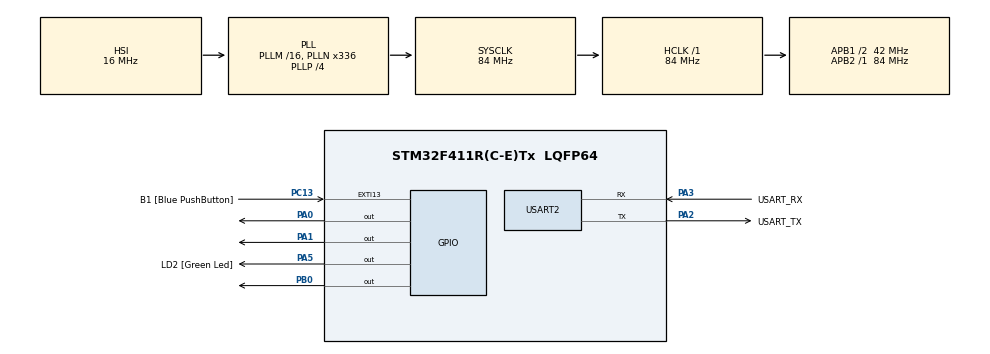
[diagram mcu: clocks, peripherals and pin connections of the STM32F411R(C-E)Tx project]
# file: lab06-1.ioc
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FREERTOS.Mutexes01=myMutex01,Dynamic,NULL
FREERTOS.Tasks01=defaultTask,0,128,StartDefaultTask,Default,NULL,Dynamic,NULL,NULL;myTask02,-3,128,StartTask02,Default,NULL,Dynamic,NULL,NULL;myTask03,-3,128,StartTask03,Default,NULL,Dynamic,NULL,NULL;myTask04,-3,128,StartTask04,Default,NULL,Dynamic,NULL,NULL;myTask05,-3,256,StartTask05,Default,NULL,Dynamic,NULL,NULL;myTask06,-3,256,StartTask06,Default,NULL,Dynamic,NULL,NULL
Mcu.Family=STM32F4
Mcu.Name=STM32F411R(C-E)Tx
Mcu.Package=LQFP64
NVIC.PriorityGroup=NVIC_PRIORITYGROUP_4
PA0-WKUP.Signal=GPIO_Output
PA1.Signal=GPIO_Output
PA13.GPIO_Label=TMS
PA13.Mode=Serial_Wire
PA13.Signal=SYS_JTMS-SWDIO
PA14.GPIO_Label=TCK
PA14.Mode=Serial_Wire
PA14.Signal=SYS_JTCK-SWCLK
PA2.GPIO_Label=USART_TX
PA2.Mode=Asynchronous
PA2.Signal=USART2_TX
PA3.GPIO_Label=USART_RX
PA3.Mode=Asynchronous
PA3.Signal=USART2_RX
PA5.GPIO_Label=LD2 [Green Led]
PA5.Signal=GPIO_Output
PB0.Signal=GPIO_Output
PB3.GPIO_Label=SWO
PB3.Signal=SYS_JTDO-SWO
PC13-ANTI_TAMP.GPIO_Label=B1 [Blue PushButton]
PC13-ANTI_TAMP.GPIO_ModeDefaultEXTI=GPIO_MODE_IT_FALLING
PC13-ANTI_TAMP.Signal=GPXTI13
PC14-OSC32_IN.Mode=LSE-External-Oscillator
PC14-OSC32_IN.Signal=RCC_OSC32_IN
PC15-OSC32_OUT.Mode=LSE-External-Oscillator
PC15-OSC32_OUT.Signal=RCC_OSC32_OUT
PH0\ -\ OSC_IN.Mode=HSE-External-Clock-Source
PH0\ -\ OSC_IN.Signal=RCC_OSC_IN
PH1\ -\ OSC_OUT.Mode=HSE-External-Clock-Source
PH1\ -\ OSC_OUT.Signal=RCC_OSC_OUT
ProjectManager.HeapSize=0x200
ProjectManager.StackSize=0x400
ProjectManager.TargetToolchain=STM32CubeIDE
RCC.48MHZClocksFreq_Value=84000000
RCC.AHBFreq_Value=84000000
RCC.APB1CLKDivider=RCC_HCLK_DIV2
RCC.APB1Freq_Value=42000000
RCC.APB1TimFreq_Value=84000000
RCC.APB2Freq_Value=84000000
RCC.APB2TimFreq_Value=84000000
RCC.CortexFreq_Value=84000000
RCC.FLatency-AdvancedSettings=FLASH_LATENCY_2
RCC.HCLKFreq_Value=84000000
RCC.HSE_VALUE=8000000
RCC.HSI_VALUE=16000000
RCC.PLLN=336
RCC.PLLP=RCC_PLLP_DIV4
RCC.SYSCLKFreq_VALUE=84000000
RCC.SYSCLKSource=RCC_SYSCLKSOURCE_PLLCLK
RCC.VCOOutputFreq_Value=336000000
USART2.VirtualMode=VM_ASYNC
VP_FREERTOS_VS_CMSIS_V1.Mode=CMSIS_V1
board=NUCLEO-F411RE

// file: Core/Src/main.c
/* USER CODE BEGIN Header */
/**
 ******************************************************************************
 * @file           : main.c
 * @brief          : Main program body
 ******************************************************************************
 * @attention
 *
 * Copyright (c) 2024 STMicroelectronics.
 * All rights reserved.
 *
 * This software is licensed under terms that can be found in the LICENSE file
 * in the root directory of this software component.
 * If no LICENSE file comes with this software, it is provided AS-IS.
 *
 ******************************************************************************
 */
/* USER CODE END Header */
#include "main.h"
#include "cmsis_os.h"

UART_HandleTypeDef huart2;

osThreadId defaultTaskHandle;
osThreadId myTask02Handle;
osThreadId myTask03Handle;
osThreadId myTask04Handle;
osThreadId myTask05Handle;
osThreadId myTask06Handle;
osMutexId myMutex01Handle;

void SystemClock_Config(void);
static void MX_GPIO_Init(void);
static void MX_USART2_UART_Init(void);
void StartDefaultTask(void const *argument);
void StartTask02(void const *argument);
void StartTask03(void const *argument);
void StartTask04(void const *argument);
void StartTask05(void const *argument);
void StartTask06(void const *argument);

int main(void) {

	/* MCU Configuration--------------------------------------------------------*/

	/* Reset of all peripherals, Initializes the Flash interface and the Systick. */
	HAL_Init();

	/* Configure the system clock */
	SystemClock_Config();

	/* Initialize all configured peripherals */
	MX_GPIO_Init();
	MX_USART2_UART_Init();

	/* Create the mutex(es) */
	/* definition and creation of myMutex01 */
	osMutexDef(myMutex01);
	myMutex01Handle = osMutexCreate(osMutex(myMutex01));

	/* Create the thread(s) */
	/* definition and creation of defaultTask */
	osThreadDef(defaultTask, StartDefaultTask, osPriorityNormal, 0, 128);
	defaultTaskHandle = osThreadCreate(osThread(defaultTask), NULL);

	/* definition and creation of myTask02 */
	osThreadDef(myTask02, StartTask02, osPriorityIdle, 0, 128);
	myTask02Handle = osThreadCreate(osThread(myTask02), NULL);

	/* definition and creation of myTask03 */
	osThreadDef(myTask03, StartTask03, osPriorityIdle, 0, 128);
	myTask03Handle = osThreadCreate(osThread(myTask03), NULL);

	/* definition and creation of myTask04 */
	osThreadDef(myTask04, StartTask04, osPriorityIdle, 0, 128);
	myTask04Handle = osThreadCreate(osThread(myTask04), NULL);

	/* definition and creation of myTask05 */
	osThreadDef(myTask05, StartTask05, osPriorityIdle, 0, 256);
	myTask05Handle = osThreadCreate(osThread(myTask05), NULL);

	/* definition and creation of myTask06 */
	osThreadDef(myTask06, StartTask06, osPriorityIdle, 0, 256);
	myTask06Handle = osThreadCreate(osThread(myTask06), NULL);

	/* Start scheduler */
	osKernelStart();

	/* We should never get here as control is now taken by the scheduler */
	/* Infinite loop */
	while (1) {

	}
}

void SystemClock_Config(void) {
	RCC_OscInitTypeDef RCC_OscInitStruct = { 0 };
	RCC_ClkInitTypeDef RCC_ClkInitStruct = { 0 };

	/** Configure the main internal regulator output voltage
	 */
	__HAL_RCC_PWR_CLK_ENABLE();
	__HAL_PWR_VOLTAGESCALING_CONFIG(PWR_REGULATOR_VOLTAGE_SCALE1);

	/** Initializes the RCC Oscillators according to the specified parameters
	 * in the RCC_OscInitTypeDef structure.
	 */
	RCC_OscInitStruct.OscillatorType = RCC_OSCILLATORTYPE_HSI;
	RCC_OscInitStruct.HSIState = RCC_HSI_ON;
	RCC_OscInitStruct.HSICalibrationValue = RCC_HSICALIBRATION_DEFAULT;
	RCC_OscInitStruct.PLL.PLLState = RCC_PLL_ON;
	RCC_OscInitStruct.PLL.PLLSource = RCC_PLLSOURCE_HSI;
	RCC_OscInitStruct.PLL.PLLM = 16;
	RCC_OscInitStruct.PLL.PLLN = 336;
	RCC_OscInitStruct.PLL.PLLP = RCC_PLLP_DIV4;
	RCC_OscInitStruct.PLL.PLLQ = 4;
	if (HAL_RCC_OscConfig(&RCC_OscInitStruct) != HAL_OK) {
		Error_Handler();
	}

	/** Initializes the CPU, AHB and APB buses clocks
	 */
	RCC_ClkInitStruct.ClockType = RCC_CLOCKTYPE_HCLK | RCC_CLOCKTYPE_SYSCLK
			| RCC_CLOCKTYPE_PCLK1 | RCC_CLOCKTYPE_PCLK2;
	RCC_ClkInitStruct.SYSCLKSource = RCC_SYSCLKSOURCE_PLLCLK;
	RCC_ClkInitStruct.AHBCLKDivider = RCC_SYSCLK_DIV1;
	RCC_ClkInitStruct.APB1CLKDivider = RCC_HCLK_DIV2;
	RCC_ClkInitStruct.APB2CLKDivider = RCC_HCLK_DIV1;

	if (HAL_RCC_ClockConfig(&RCC_ClkInitStruct, FLASH_LATENCY_2) != HAL_OK) {
		Error_Handler();
	}
}

static void MX_USART2_UART_Init(void) {

	huart2.Instance = USART2;
	huart2.Init.BaudRate = 115200;
	huart2.Init.WordLength = UART_WORDLENGTH_8B;
	huart2.Init.StopBits = UART_STOPBITS_1;
	huart2.Init.Parity = UART_PARITY_NONE;
	huart2.Init.Mode = UART_MODE_TX_RX;
	huart2.Init.HwFlowCtl = UART_HWCONTROL_NONE;
	huart2.Init.OverSampling = UART_OVERSAMPLING_16;
	if (HAL_UART_Init(&huart2) != HAL_OK) {
		Error_Handler();
	}

}

static void MX_GPIO_Init(void) {
	GPIO_InitTypeDef GPIO_InitStruct = { 0 };

	/* GPIO Ports Clock Enable */
	__HAL_RCC_GPIOC_CLK_ENABLE();
	__HAL_RCC_GPIOH_CLK_ENABLE();
	__HAL_RCC_GPIOA_CLK_ENABLE();
	__HAL_RCC_GPIOB_CLK_ENABLE();

	/*Configure GPIO pin Output Level */
	HAL_GPIO_WritePin(GPIOA, GPIO_PIN_0 | GPIO_PIN_1 | LD2_Pin, GPIO_PIN_RESET);

	/*Configure GPIO pin Output Level */
	HAL_GPIO_WritePin(GPIOB, GPIO_PIN_0, GPIO_PIN_RESET);

	/*Configure GPIO pin : B1_Pin */
	GPIO_InitStruct.Pin = B1_Pin;
	GPIO_InitStruct.Mode = GPIO_MODE_IT_FALLING;
	GPIO_InitStruct.Pull = GPIO_NOPULL;
	HAL_GPIO_Init(B1_GPIO_Port, &GPIO_InitStruct);

	/*Configure GPIO pins : PA0 PA1 LD2_Pin */
	GPIO_InitStruct.Pin = GPIO_PIN_0 | GPIO_PIN_1 | LD2_Pin;
	GPIO_InitStruct.Mode = GPIO_MODE_OUTPUT_PP;
	GPIO_InitStruct.Pull = GPIO_NOPULL;
	GPIO_InitStruct.Speed = GPIO_SPEED_FREQ_LOW;
	HAL_GPIO_Init(GPIOA, &GPIO_InitStruct);

	/*Configure GPIO pin : PB0 */
	GPIO_InitStruct.Pin = GPIO_PIN_0;
	GPIO_InitStruct.Mode = GPIO_MODE_OUTPUT_PP;
	GPIO_InitStruct.Pull = GPIO_NOPULL;
	GPIO_InitStruct.Speed = GPIO_SPEED_FREQ_LOW;
	HAL_GPIO_Init(GPIOB, &GPIO_InitStruct);

}

void StartDefaultTask(void const *argument) {
	/* USER CODE BEGIN 5 */
	/* Infinite loop */
	for (;;) {
		HAL_GPIO_TogglePin(GPIOA, GPIO_PIN_5);
		osDelay(25);
	}
	/* USER CODE END 5 */
}

void StartTask02(void const *argument) {
	/* USER CODE BEGIN StartTask02 */
	/* Infinite loop */
	for (;;) {
		HAL_GPIO_TogglePin(GPIOA, GPIO_PIN_0);
		osDelay(9);
	}
	/* USER CODE END StartTask02 */
}

void StartTask03(void const *argument) {
	/* USER CODE BEGIN StartTask03 */
	/* Infinite loop */
	for (;;) {
		HAL_GPIO_TogglePin(GPIOA, GPIO_PIN_1);
		osDelay(64);
	}
	/* USER CODE END StartTask03 */
}

void StartTask04(void const *argument) {
	/* USER CODE BEGIN StartTask04 */
	/* Infinite loop */
	for (;;) {
		HAL_GPIO_TogglePin(GPIOB, GPIO_PIN_0);
		osDelay(32);
	}
	/* USER CODE END StartTask04 */
}

void StartTask05(void const *argument) {
	/* USER CODE BEGIN StartTask05 */
	/* Infinite loop */
	for (;;) {
		// Access the shared buffer safely
		int threadID = 0; // threadID is 0 for one thread and 1 for another
		int idx = 0;
		char buffer[64];
		while (1) {
			// Acquire the UART mutex
			if (osMutexWait(myMutex01Handle, osWaitForever) == osOK) {
				sprintf(buffer, "\x1B[34mTID: %d %d\r\n", threadID, idx);
				idx++;
				HAL_UART_Transmit(&huart2, buffer, strlen(buffer), 1000);

				// Release the UART mutex
				osMutexRelease(myMutex01Handle);
				osDelay(500);
			}
		}
	}
	/* USER CODE END StartTask05 */
}

void StartTask06(void const *argument) {
	/* USER CODE BEGIN StartTask06 */
	/* Infinite loop */
	for (;;) {
		int threadID = 1; // threadID is 0 for one thread and 1 for another
		int idx = 0;
		char buffer[64];
		while (1) {

			if (osMutexWait(myMutex01Handle, osWaitForever) == osOK) {
				sprintf(buffer, "\x1B[31mTID: %d %d\r\n", threadID, idx);
				idx++;
				HAL_UART_Transmit(&huart2, buffer, strlen(buffer), 1000);

				osMutexRelease(myMutex01Handle);
				osDelay(500);
			}
		}
	}
	/* USER CODE END StartTask06 */
}

void Error_Handler(void) {
	__disable_irq();
	while (1) {
	}
}
